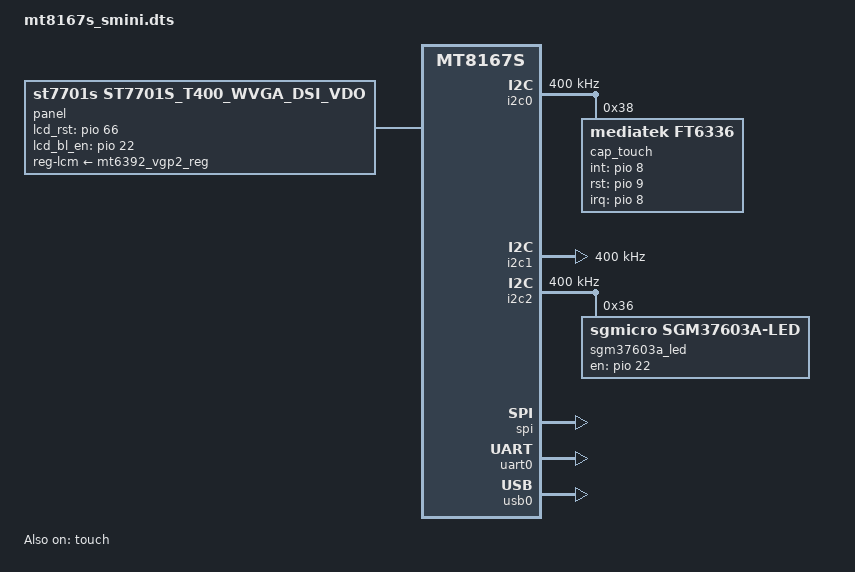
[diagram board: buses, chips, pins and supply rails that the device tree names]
/*
 * Copyright (c) 2014-2015 MediaTek Inc.
 *
 * This program is free software; you can redistribute it and/or modify
 * it under the terms of the GNU General Public License version 2 as
 * published by the Free Software Foundation.
 *
 * This program is distributed in the hope that it will be useful,
 * MERCHANTABILITY or FITNESS FOR A PARTICULAR PURPOSE.  See the
 * GNU General Public License for more details.
 */

/dts-v1/;

#include "mt8167s_ref_base.dtsi"

/ {
	panel: panel@0 {
		compatible = "st7701s,st7701s_t400_wvga_dsi_vdo";
		gpio_lcd_rst = <&pio 66 0>;
		gpio_lcd_bl_en = <&pio 22 0>;
		reg-lcm-supply = <&mt6392_vgp2_reg>;
		status = "okay";
	};
};

&i2c0 {
	status = "okay";
	clock-frequency = <400000>;

	cap_touch@38 {
		compatible = "mediatek,FT6336";
		reg = <0x38>;
		interrupt-parent = <&pio>;
		interrupts = <8 IRQ_TYPE_EDGE_FALLING>;
		int-gpio = <&pio 8 0>;
		rst-gpio = <&pio 9 0>;
	};
};

&i2c1 {
	status = "okay";
	clock-frequency = <400000>;
};

&i2c2 {
	status = "okay";
	clock-frequency = <400000>;

	sgm37603a_led@36 {
		compatible = "sgmicro,sgm37603a-led";
		reg = <0x36>;
		gpio_en = <&pio 22 0>;
	};
};

&led6 {
	status = "disabled";
};

&mt6392keys {
	mediatek,homekey-code = <114>;
	mediatek,homekey-gpio = <576>;
};

&pio {
	pinctrl-names = "default";
	pinctrl-0 = <&state_default>;

	state_default:pinconf_default {
		pins_cmd_dat {
			pins = <MT8167_PIN_23_EINT23__FUNC_GPIO23>;
			input-enable;
			bias-pull-up = <MTK_PUPD_SET_R1R0_00>;
		};
	};

	usb0_iddig: iddig_irq_init {
		pins_cmd_dat {
			pins = <MT8167_PIN_17_EINT17__FUNC_GPIO17>;
			slew-rate = <0>;
			bias-pull-up = <00>;
		};
	};

	usb0_drvvbus: drvvbus_init {
		pins_cmd_dat {
			pins = <MT8167_PIN_18_EINT18__FUNC_GPIO18>;
			output-high;
		};
	};

	usb0_drvvbus_high: drvvbus_high {
		pins_cmd_dat {
			pins = <MT8167_PIN_18_EINT18__FUNC_GPIO18>;
			slew-rate = <1>;
			output-high;
		};
	};

	usb0_drvvbus_low: drvvbus_low {
		pins_cmd_dat {
			pins = <MT8167_PIN_18_EINT18__FUNC_GPIO18>;
			slew-rate = <1>;
			output-low;
		};
	};

	aud_pins_default: audiodefault {
		pins_cmd_dat {
			pinmux = <MT8167_PIN_25_EINT25__FUNC_I2S_8CH_MCK>,
				 <MT8167_PIN_55_I2S_DATA_IN__FUNC_I2S_8CH_DO1>,
				 <MT8167_PIN_56_I2S_LRCK__FUNC_I2S_8CH_LRCK>,
				 <MT8167_PIN_57_I2S_BCK__FUNC_I2S_8CH_BCK>,
				 <MT8167_PIN_100_CMDAT0__FUNC_TDM_RX_MCK>,
				 <MT8167_PIN_101_CMDAT1__FUNC_TDM_RX_BCK>,
				 <MT8167_PIN_102_CMMCLK__FUNC_TDM_RX_LRCK>,
				 <MT8167_PIN_103_CMPCLK__FUNC_TDM_RX_DI>,
				 <MT8167_PIN_1_EINT1__FUNC_I2S2_DI>;
				 drive-strength = <MTK_DRIVE_4mA>;
		};
	};

	CTP_pins_default: eint0default {
		pins_cmd_dat {
			pins = <MT8167_PIN_8_EINT8__FUNC_GPIO8>;
			slew-rate = <0>;
			bias-disable;
		};
	};

	CTP_pins_eint_as_int: eint@0 {
		pins_cmd_dat {
			pins = <MT8167_PIN_8_EINT8__FUNC_GPIO8>;
			slew-rate = <0>;
			bias-disable;
		};
	};

	CTP_pins_eint_output0: eintoutput0 {
		pins_cmd_dat {
			pins = <MT8167_PIN_8_EINT8__FUNC_GPIO8>;
			slew-rate = <1>;
			output-low;
		};
	};

	CTP_pins_eint_output1: eintoutput1 {
		pins_cmd_dat {
			pins = <MT8167_PIN_8_EINT8__FUNC_GPIO8>;
			slew-rate = <1>;
			output-high;
		};
	};

	CTP_pins_rst_output0: rstoutput0 {
		pins_cmd_dat {
			pins = <MT8167_PIN_9_EINT9__FUNC_GPIO9>;
			slew-rate = <1>;
			output-low;
		};
	};

	CTP_pins_rst_output1: rstoutput1 {
		pins_cmd_dat {
			pins = <MT8167_PIN_9_EINT9__FUNC_GPIO9>;
			slew-rate = <1>;
			output-high;
		};
	};

	mmc2_pins_default: mmc2default {
		pins_cmd_dat {
			pinmux = <MT8167_PIN_70_MSDC2_DAT0__FUNC_MSDC2_DAT0>,
				<MT8167_PIN_71_MSDC2_DAT1__FUNC_MSDC2_DAT1>,
				<MT8167_PIN_72_MSDC2_DAT2__FUNC_MSDC2_DAT2>,
				<MT8167_PIN_73_MSDC2_DAT3__FUNC_MSDC2_DAT3>,
				<MT8167_PIN_68_MSDC2_CMD__FUNC_MSDC2_CMD>;
			input-enable;
			drive-strength = <MTK_DRIVE_6mA>;
			bias-pull-up = <MTK_PUPD_SET_R1R0_01>;
		};

		pins_clk {
			pinmux = <MT8167_PIN_69_MSDC2_CLK__FUNC_MSDC2_CLK>;
			drive-strength = <MTK_DRIVE_6mA>;
			bias-pull-down = <MTK_PUPD_SET_R1R0_10>;
		};

		pins_pmu_en {
			pinmux = <MT8167_PIN_2_EINT2__FUNC_GPIO2>;
			output-high;
		};

		pins_wifi_en {
			pinmux = <MT8167_PIN_13_EINT13__FUNC_GPIO13>;
			output-high;
		};
	};
};

&spi {
	status = "okay";
};

&touch {
	vtouch-supply = <&mt6392_vgp1_reg>;
	tpd-resolution = <800 400>;
	use-tpd-button = <0>;
	tpd-key-num = <4>;
	tpd-key-local= <139 172 158 0>;
	tpd-key-dim-local = <60 850 50 30 180 850 50 30 300 850 50 30 420 850 50 30>;
	tpd-max-touch-num = <5>;
	tpd-filter-enable = <1>;
	tpd-filter-pixel-density = <124>;
	tpd-filter-custom-prameters = <0 0 0 0 0 0 0 0 0 0 0 0>;
	tpd-filter-custom-speed = <0 0 0>;
	pinctrl-names = "default", "state_eint_as_int", "state_eint_output0", "state_eint_output1",
		"state_rst_output0", "state_rst_output1";
	pinctrl-0 = <&CTP_pins_default>;
	pinctrl-1 = <&CTP_pins_eint_as_int>;
	pinctrl-2 = <&CTP_pins_eint_output0>;
	pinctrl-3 = <&CTP_pins_eint_output1>;
	pinctrl-4 = <&CTP_pins_rst_output0>;
	pinctrl-5 = <&CTP_pins_rst_output1>;
	status = "okay";
};


&uart0 {
	status="okay";
};

&usb0 {
	pinctrl-names = "iddig_irq_init", "drvvbus_init", "drvvbus_low", "drvvbus_high";
	pinctrl-0 = <&usb0_iddig>;
	pinctrl-1 = <&usb0_drvvbus>;
	pinctrl-2 = <&usb0_drvvbus_low>;
	pinctrl-3 = <&usb0_drvvbus_high>;
	usb-power-supply = <&mt6392_vusb_reg>;
	drvvbus_gpio = <&pio 18 2>;
	iddig_gpio = <&pio 17 0>;
	ocp-gpio = <&pio 11 0>;
	type = "a";
	mediatek,otg-enable;
	mediatek,c-switch;
	status = "okay";
};
